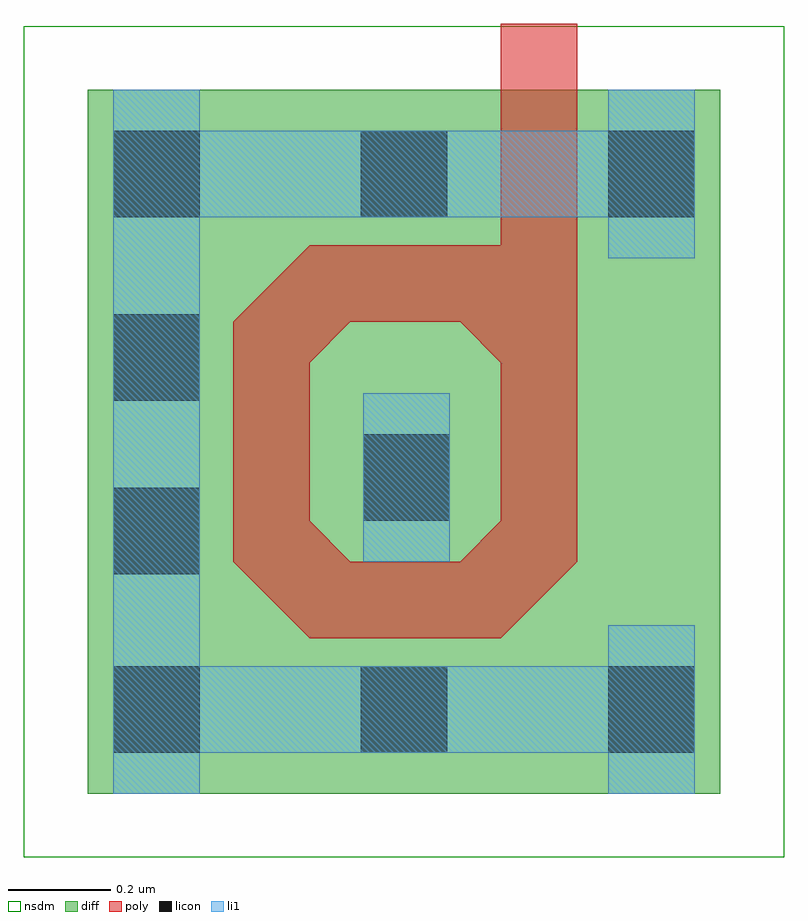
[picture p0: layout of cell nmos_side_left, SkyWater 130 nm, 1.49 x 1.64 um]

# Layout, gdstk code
import gdstk
lib = gdstk.Library(unit=1e-6, precision=1e-09)
def R(c, l, rs):  # rectangles x0, y0, x1, y1
    for r in rs: c.add(gdstk.rectangle(r[:2], r[2:], *l))
def A(c, l, x, y, w, h, nx, ny, dx, dy):  # array of equal rectangles
    R(c, l, [(x+i*dx, y+j*dy, x+i*dx+w, y+j*dy+h) for i in range(nx) for j in range(ny)])
def P(c, l, *ps):  # polygons
    for p in ps: c.add(gdstk.Polygon(p, *l))
diff = (65, 20)
poly = (66, 20)
licon = (66, 44)
li1 = (67, 20)
nsdm = (93, 44)

nmos_side_left = lib.new_cell('nmos_side_left')
R(nmos_side_left, diff, [(0,0,1.24,1.38)])
R(nmos_side_left, poly, [(0.435,0.305,0.81,0.455), (0.285,0.455,0.435,0.925), (0.81,0.455,0.96,0.925), (0.435,0.925,0.96,1.075), (0.81,1.075,0.96,1.51)])
P(nmos_side_left, poly, [(0.285,0.925),(0.435,0.925),(0.435,1.075)],
  [(0.435,0.845),(0.435,0.925),(0.515,0.925)],
  [(0.73,0.925),(0.81,0.925),(0.81,0.845)],
  [(0.435,0.535),(0.435,0.455),(0.515,0.455)],
  [(0.73,0.455),(0.81,0.455),(0.81,0.535)],
  [(0.285,0.455),(0.435,0.455),(0.435,0.305)],
  [(0.81,0.305),(0.81,0.455),(0.96,0.455)])
A(nmos_side_left, licon, 0.05, 0.08, 0.17, 0.17, 3, 2, 0.485, 1.05)
R(nmos_side_left, licon, [(0.05,0.43,0.22,0.6), (0.54,0.535,0.71,0.705), (0.05,0.77,0.22,0.94)])
R(nmos_side_left, li1, [(0.05,0,0.22,0.08), (1.02,0,1.19,0.08), (0.05,0.08,1.19,0.25), (0.05,0.25,0.22,1.13), (1.02,0.25,1.19,0.33), (0.54,0.455,0.71,0.785), (1.02,1.05,1.19,1.13), (0.05,1.13,1.19,1.3), (0.05,1.3,0.22,1.38), (1.02,1.3,1.19,1.38)])
R(nmos_side_left, nsdm, [(-0.125,-0.125,1.365,1.505)])

lib.write_gds('nmos_side_left.gds')
